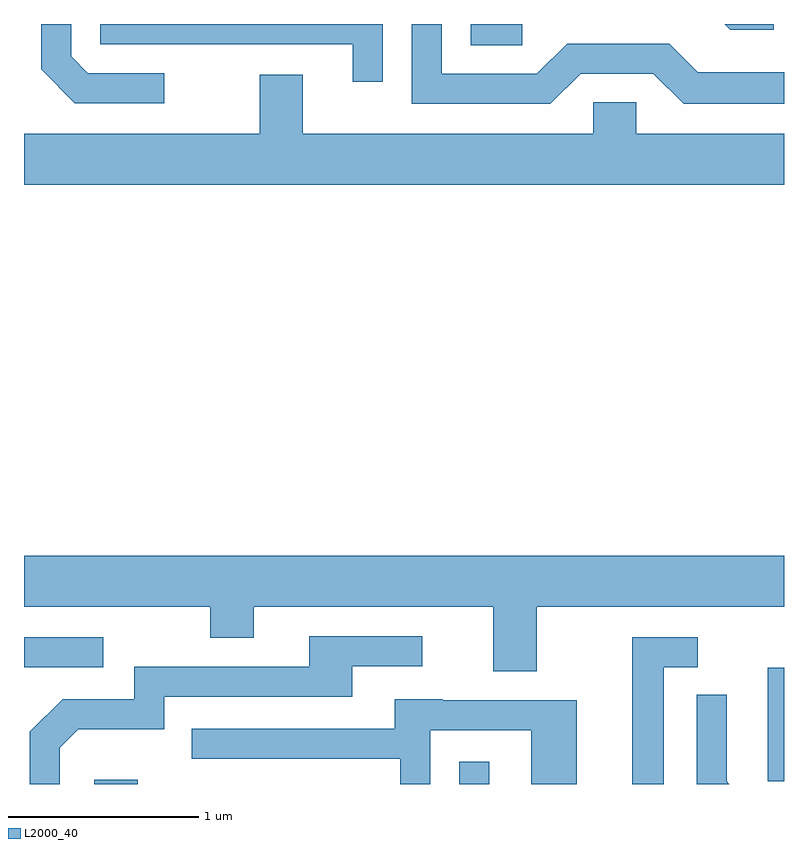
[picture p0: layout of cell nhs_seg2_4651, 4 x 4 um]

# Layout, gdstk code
import gdstk
lib = gdstk.Library(unit=1e-6, precision=1e-09)
def R(c, l, rs):  # rectangles x0, y0, x1, y1
    for r in rs: c.add(gdstk.rectangle(r[:2], r[2:], *l))
def P(c, l, *ps):  # polygons
    for p in ps: c.add(gdstk.Polygon(p, *l))
L2000_40 = (2000, 40)

nhs_seg2_4651 = lib.new_cell('nhs_seg2_4651')
R(nhs_seg2_4651, L2000_40, [(321.981,1071.802,322.209,1071.824), (323.901,1071.802,324.059,1071.918), (325.526,1071.816,325.611,1072.414), (321.611,1072.416,322.028,1072.574), (323.961,1075.691,324.233,1075.802)])
P(nhs_seg2_4651, L2000_40, [(322.348,1075.544),(321.947,1075.544),(321.859,1075.632),(321.859,1075.802),(321.701,1075.802),(321.701,1075.564),(321.879,1075.386),(322.348,1075.386)],
  [(323.499,1075.802),(322.011,1075.802),(322.011,1075.696),(323.341,1075.696),(323.341,1075.498),(323.499,1075.498)],
  [(325.558,1075.802),(325.298,1075.802),(325.329,1075.771),(325.558,1075.771)],
  [(324.542,1075.541),(324.924,1075.541),(325.084,1075.381),(325.611,1075.381),(325.611,1075.549),(325.157,1075.549),(325.007,1075.699),(324.469,1075.699),(324.309,1075.539),(323.809,1075.539),(323.809,1075.802),(323.651,1075.802),(323.651,1075.381),(324.382,1075.381)],
  [(325.611,1075.224),(324.834,1075.224),(324.834,1075.389),(324.606,1075.389),(324.606,1075.224),(323.079,1075.224),(323.079,1075.534),(322.851,1075.534),(322.851,1075.224),(321.611,1075.224),(321.611,1074.956),(325.611,1074.956)],
  [(324.309,1072.736),(325.611,1072.736),(325.611,1073.004),(321.611,1073.004),(321.611,1072.736),(322.591,1072.736),(322.591,1072.571),(322.819,1072.571),(322.819,1072.736),(324.081,1072.736),(324.081,1072.396),(324.309,1072.396)],
  [(321.799,1071.994),(321.897,1072.091),(322.349,1072.091),(322.349,1072.261),(323.339,1072.261),(323.339,1072.421),(323.708,1072.421),(323.708,1072.579),(323.111,1072.579),(323.111,1072.419),(322.191,1072.419),(322.191,1072.249),(321.814,1072.249),(321.641,1072.077),(321.641,1071.802),(321.799,1071.802)],
  [(324.979,1072.416),(325.158,1072.416),(325.158,1072.574),(324.811,1072.574),(324.811,1071.802),(324.979,1071.802)],
  [(325.309,1071.817),(325.309,1072.273),(325.151,1072.273),(325.151,1071.802),(325.324,1071.802)],
  [(323.749,1072.086),(324.281,1072.086),(324.281,1071.802),(324.519,1071.802),(324.519,1072.244),(323.815,1072.244),(323.815,1072.249),(323.561,1072.249),(323.561,1072.094),(322.493,1072.094),(322.493,1071.936),(323.591,1071.936),(323.591,1071.802),(323.749,1071.802)])

lib.write_gds('nhs_seg2_4651.gds')
